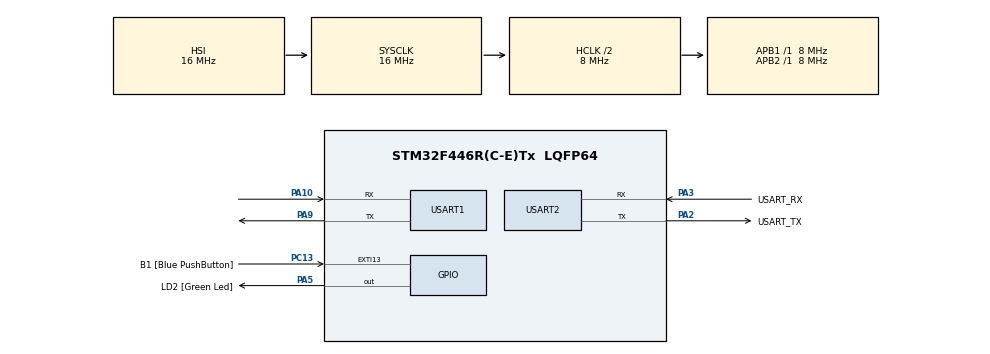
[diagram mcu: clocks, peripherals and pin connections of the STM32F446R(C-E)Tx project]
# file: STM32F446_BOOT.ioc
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Dma.Request0=USART1_RX
Dma.USART1_RX.0.Direction=DMA_PERIPH_TO_MEMORY
Dma.USART1_RX.0.FIFOMode=DMA_FIFOMODE_DISABLE
Dma.USART1_RX.0.Instance=DMA2_Stream2
Dma.USART1_RX.0.MemDataAlignment=DMA_MDATAALIGN_BYTE
Dma.USART1_RX.0.MemInc=DMA_MINC_ENABLE
Dma.USART1_RX.0.Mode=DMA_NORMAL
Dma.USART1_RX.0.PeriphDataAlignment=DMA_PDATAALIGN_BYTE
Dma.USART1_RX.0.PeriphInc=DMA_PINC_DISABLE
Dma.USART1_RX.0.Priority=DMA_PRIORITY_LOW
Mcu.Family=STM32F4
Mcu.Name=STM32F446R(C-E)Tx
Mcu.Package=LQFP64
NVIC.DMA2_Stream2_IRQn=true\:0\:0\:false\:false\:true\:false\:true\:true
NVIC.PriorityGroup=NVIC_PRIORITYGROUP_0
NVIC.USART1_IRQn=true\:0\:0\:false\:false\:true\:true\:true\:true
PA10.Mode=Asynchronous
PA10.Signal=USART1_RX
PA13.GPIO_Label=TMS
PA13.Mode=Serial_Wire
PA13.Signal=SYS_JTMS-SWDIO
PA14.GPIO_Label=TCK
PA14.Mode=Serial_Wire
PA14.Signal=SYS_JTCK-SWCLK
PA2.GPIO_Label=USART_TX
PA2.Mode=Asynchronous
PA2.Signal=USART2_TX
PA3.GPIO_Label=USART_RX
PA3.Mode=Asynchronous
PA3.Signal=USART2_RX
PA5.GPIO_Label=LD2 [Green Led]
PA5.Signal=GPIO_Output
PA9.Mode=Asynchronous
PA9.Signal=USART1_TX
PB3.GPIO_Label=SWO
PB3.Signal=SYS_JTDO-SWO
PC13.GPIO_Label=B1 [Blue PushButton]
PC13.GPIO_ModeDefaultEXTI=GPIO_MODE_IT_FALLING
PC13.Signal=GPXTI13
PC14-OSC32_IN.Mode=LSE-External-Oscillator
PC14-OSC32_IN.Signal=RCC_OSC32_IN
PC15-OSC32_OUT.Mode=LSE-External-Oscillator
PC15-OSC32_OUT.Signal=RCC_OSC32_OUT
PH0-OSC_IN.Mode=HSE-External-Oscillator
PH0-OSC_IN.Signal=RCC_OSC_IN
PH1-OSC_OUT.Mode=HSE-External-Oscillator
PH1-OSC_OUT.Signal=RCC_OSC_OUT
ProjectManager.HeapSize=0x200
ProjectManager.StackSize=0x400
ProjectManager.TargetToolchain=STM32CubeIDE
RCC.48MHZClocksFreq_Value=84000000
RCC.AHBCLKDivider=RCC_SYSCLK_DIV2
RCC.AHBFreq_Value=8000000
RCC.APB1Freq_Value=8000000
RCC.APB1TimFreq_Value=8000000
RCC.APB2Freq_Value=8000000
RCC.APB2TimFreq_Value=8000000
RCC.CortexFreq_Value=8000000
RCC.FLatency-AdvancedSettings=FLASH_LATENCY_0
RCC.HCLKFreq_Value=8000000
RCC.HSE_VALUE=8000000
RCC.HSI_VALUE=16000000
RCC.PLLN=336
RCC.PLLP=RCC_PLLP_DIV4
RCC.SYSCLKFreq_VALUE=16000000
RCC.USBFreq_Value=168000000
RCC.VCOOutputFreq_Value=336000000
USART1.VirtualMode=VM_ASYNC
USART2.VirtualMode=VM_ASYNC
VP_CRC_VS_CRC.Mode=CRC_Activate
board=NUCLEO-F446RE

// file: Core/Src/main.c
/* USER CODE BEGIN Header */
/**
  ******************************************************************************
  * @file           : main.c
  * @brief          : Main program body
  ******************************************************************************
  * @attention
  *
  * Copyright (c) 2025 STMicroelectronics.
  * All rights reserved.
  *
  * This software is licensed under terms that can be found in the LICENSE file
  * in the root directory of this software component.
  * If no LICENSE file comes with this software, it is provided AS-IS.
  *
  ******************************************************************************
  */
/* USER CODE END Header */
#include "main.h"

/* USER CODE BEGIN Includes */
#include <stdio.h>
#include <string.h>
#include "nvslogger.h"
#include "nvscfg_store.h"
#include "nvsesp.h"
#include "esp8266_comm.h"
/* USER CODE END Includes */

/* USER CODE BEGIN PTD */
uint32_t server_version;
uint8_t g_firmwareVersion = 0;
NVS_ESP_AP_MODE apModeGetData;

uint16_t totalBlocks;
static volatile uint32_t resetValue;
/* USER CODE END PTD */

CRC_HandleTypeDef hcrc;

UART_HandleTypeDef huart1;
UART_HandleTypeDef huart2;
DMA_HandleTypeDef hdma_usart1_rx;

void SystemClock_Config(void);
static void MX_GPIO_Init(void);
static void MX_DMA_Init(void);
static void MX_USART2_UART_Init(void);
static void MX_USART1_UART_Init(void);
static void MX_CRC_Init(void);

/* USER CODE BEGIN 0 */
void bootloader_jump_to_user_application(void) {
	void (*bootloader_application_reset_handler)(void);
	logInfo("BL DEBUG MSG:Jumping to user application...\n");
	uint32_t mspValue = *(volatile uint32_t*) APP_START_ADDRESS;
	logInfo("BL DEBUG MSG:MSP Value %#x\n", mspValue);
	__set_MSP(mspValue);

	resetValue = *(volatile uint32_t*) (APP_START_ADDRESS + 4);
	logInfo("BL DEBUG MSG:Reset Value %#x\n", resetValue);

	bootloader_application_reset_handler = (void*) resetValue;

	bootloader_application_reset_handler();

}
void app_test_read_wifi_from_cfg(void)
{
    logInfo("==== APP TEST: READ WIFI CFG START ====\r\n");

    nv_cfg_result_t r = nv_cfg_load_globals();
    logInfo("APP READ: nv_cfg_load_globals returned %d\r\n", r);

    if (r != NV_CFG_OK) {
        logInfo("APP READ ERROR: load_globals FAILED (%d)\r\n", r);
        logInfo("==== APP TEST: READ WIFI CFG END (FAIL) ====\r\n\r\n");
        return;
    }

    logInfo("APP READ: g_nv_cfg.pass_len = %u\r\n", (unsigned)g_nv_cfg.pass_len);
    logInfo("APP READ: g_nv_cfg.ssid     = \"%s\"\r\n", g_nv_cfg.ssid);

    char pass_plain[NV_PASS_MAX_LEN + 1];
    uint16_t pl = g_nv_cfg.pass_len;
    if (pl > NV_PASS_MAX_LEN) pl = NV_PASS_MAX_LEN;
    memcpy(pass_plain, g_nv_cfg.pass, pl);
    pass_plain[pl] = '\0';

    logInfo("APP READ: g_nv_cfg.pass     = \"%s\"\r\n", pass_plain);

    char pass_mask[32];
    if (g_nv_cfg.pass_len == 0) {
        strcpy(pass_mask, "(empty)");
    } else if (g_nv_cfg.pass_len >= 4) {
        pass_mask[0] = g_nv_cfg.pass[0];
        pass_mask[1] = g_nv_cfg.pass[1];
        pass_mask[2] = '*';
        pass_mask[3] = '*';
        pass_mask[4] = '*';
        pass_mask[5] = g_nv_cfg.pass[g_nv_cfg.pass_len - 2];
        pass_mask[6] = g_nv_cfg.pass[g_nv_cfg.pass_len - 1];
        pass_mask[7] = '\0';
    } else {
        uint16_t m = (g_nv_cfg.pass_len < sizeof(pass_mask) - 1)
                     ? g_nv_cfg.pass_len
                     : (sizeof(pass_mask) - 1);
        for (uint16_t i = 0; i < m; i++) pass_mask[i] = '*';
        pass_mask[m] = '\0';
    }

    logInfo("APP READ: g_nv_cfg.pass(mask)= %s\r\n", pass_mask);

    logInfo("==== APP TEST: READ WIFI CFG END (OK) ====\r\n\r\n");
}
/* USER CODE END 0 */

int main(void)
{

  /* MCU Configuration--------------------------------------------------------*/

  /* Reset of all peripherals, Initializes the Flash interface and the Systick. */
  HAL_Init();

  /* Configure the system clock */
  SystemClock_Config();

  /* Initialize all configured peripherals */
  MX_GPIO_Init();
  MX_DMA_Init();
  MX_USART2_UART_Init();
  MX_USART1_UART_Init();
  MX_CRC_Init();
  /* USER CODE BEGIN 2 */
	nvsesp_sendAtCommand("AT+RST", 1000);
	nvsesp_sendAtCommand("ATE0", 1000);
	nvsesp_sendAtCommand("AT+CWMODE=3", 1000);
	nvsesp_sendAtCommand("AT+CWSAP=\"BURAK123\",\"12345678\",5,3", 2000);
	nvsesp_sendAtCommand("AT+CWQAP", 1000);
	char cmd[128];
	logInfo("WiFi join OK (%s)\r\n", g_nv_cfg.ssid);
	snprintf(cmd, sizeof(cmd), "AT+CWJAP=\"%s\",\"%s\"", g_nv_cfg.ssid, g_nv_cfg.pass);

	if (nvsesp_sendAtCommand(cmd,3000) == NS_ESP_STATUS_SUCCESS) {
		logInfo("wifi success\n");
		nvsesp_sendAtCommand("AT+CIPMUX=1", 1000);

		if (nvsesp_sendAtCommand(
				"AT+CIPSTART=0,\"TCP\",\"burakozdemir1.pythonanywhere.com\",80",
				2000) == NS_ESP_STATUS_SUCCESS) {
			char httpRequest[256];
			sprintf(httpRequest, "GET /version HTTP/1.1\r\n"
					"Host: burakozdemir1.pythonanywhere.com\r\n"
					"Connection: close\r\n"
					"\r\n");

			char cipSendCmd[32];
			sprintf(cipSendCmd, "AT+CIPSEND=0,%d", strlen(httpRequest));
			nvsesp_sendAtCommand(cipSendCmd, 2000);

			ESP_Handle_t espWifi;

			uint8_t ATisOK = 0;
			espWifi.timeout = 6000;

			while (!ATisOK) {

				memset(espWifi.rxBuffer, 0, sizeof(espWifi.rxBuffer));

				if (HAL_UART_Transmit(&huart1, (uint8_t*) httpRequest,
						strlen(httpRequest), 2000) != HAL_OK) {
					logInfo(
							"BL ERROR: Failed to transmit AT+CIPCLOSE command!\n");
					break;
				}

				uint32_t start_time = HAL_GetTick();
				while (HAL_UART_Receive(&huart1, (uint8_t*) espWifi.rxBuffer,
						sizeof(espWifi.rxBuffer), espWifi.timeout) != HAL_OK) {
					if (HAL_GetTick() - start_time >= espWifi.timeout)
						break;
				}

				if ((strstr((char*) espWifi.rxBuffer, "CLOSED")
						|| strstr((char*) espWifi.rxBuffer, "OK"))) {
					logInfo("BL DEBUG: AT+CIPCLOSE OK.\n");
					ATisOK = 1;
					break;
				} else {
					logInfo("BL DEBUG: AT+CIPCLOSE empty.\n");
					break;
				}

				HAL_Delay(500);
			}

			ATisOK = 0;

	        if (!g_nv_cfg.first_online_flag) {
	            if (strstr((char*)espWifi.rxBuffer, "HTTP/1.1") ||
	                strstr((char*)espWifi.rxBuffer, "HTTP/1.0")) {
	                if (nv_cfg_set_first_online_flag_and_commit(true) == NV_CFG_OK) {
	                	logInfo("First online flag set to 1\r\n");
	                } else {
	                	logInfo("First online flag commit FAILED\r\n");
	                }
	            } else {
	            	logInfo("First online not confirmed by HTTP.\r\n");
	            }
	        }

			server_version = nvsesp_parseVersionJson((char*)espWifi.rxBuffer);
			//nvsesp_parseVersionJson((char*)espWifi.rxBuffer);
			if (server_version != g_nv_cfg.version) {

				logInfo("Version mismatch! Local=%lu, Server=%lu\r\n",
			                 (unsigned long)g_nv_cfg.version,
			                 (unsigned long)server_version);

				nvsesp_sendAtCommand(
						"AT+CIPSTART=0,\"TCP\",\"burakozdemir1.pythonanywhere.com\",80",
						2000);
				ESP8266_GetFirmwareMetadata(&totalBlocks);
				if (ESP8266_RequestFirmware(&totalBlocks)
						== ESP_STATUS_METADATA_FAIL)
					NVIC_SystemReset();
			}
		}
		else {
			logInfo("BL DEBUG: Server Connection Error.\n");
			while (1);
		}
	    nv_cfg_ctx_t ctx;
	    if (nv_cfg_init(&ctx) == NV_CFG_OK) {
	        if (nv_cfg_set_version(&ctx, server_version) == NV_CFG_OK) {
	            if (nv_cfg_commit(&ctx) == NV_CFG_OK) {
	                nv_cfg_load_globals();
	                logInfo("Version updated in flash: %lu\r\n",
	                             (unsigned long)g_nv_cfg.version);
	            } else {
	            	logInfo("Version commit FAILED!\r\n");
	            }
	        } else {
	        	logInfo("Version set FAILED!\r\n");
	        }
	    } else {
	    	logInfo("nv_cfg_init FAILED!\r\n");
	    }
	    logInfo("BL DEBUG: Jumping App Code.\n");
		bootloader_jump_to_user_application();

	}

	else {
		logInfo("Wifi Fail\n");

	    if (!g_nv_cfg.first_online_flag) {
	        nvsesp_sendAtCommand("AT+CIPMUX=1", 2500);
	        nvsesp_sendAtCommand("AT+CIPDINFO=1", 2000);
	        nvsesp_sendAtCommand("AT+CIPSERVER=1,80", 2000);
	        nvsesp_apModeGetDataInit();

	    } else {
	    	logInfo("Offline mode allowed (first_online_flag=1). Jumping app.\n");
	        bootloader_jump_to_user_application();
	    }
	}

  /* USER CODE END 2 */

  /* Infinite loop */
  while (1)
  {

  }
}

void SystemClock_Config(void)
{
  RCC_OscInitTypeDef RCC_OscInitStruct = {0};
  RCC_ClkInitTypeDef RCC_ClkInitStruct = {0};

  /** Configure the main internal regulator output voltage
  */
  __HAL_RCC_PWR_CLK_ENABLE();
  __HAL_PWR_VOLTAGESCALING_CONFIG(PWR_REGULATOR_VOLTAGE_SCALE3);

  /** Initializes the RCC Oscillators according to the specified parameters
  * in the RCC_OscInitTypeDef structure.
  */
  RCC_OscInitStruct.OscillatorType = RCC_OSCILLATORTYPE_HSI;
  RCC_OscInitStruct.HSIState = RCC_HSI_ON;
  RCC_OscInitStruct.HSICalibrationValue = RCC_HSICALIBRATION_DEFAULT;
  RCC_OscInitStruct.PLL.PLLState = RCC_PLL_NONE;
  if (HAL_RCC_OscConfig(&RCC_OscInitStruct) != HAL_OK)
  {
    Error_Handler();
  }

  /** Initializes the CPU, AHB and APB buses clocks
  */
  RCC_ClkInitStruct.ClockType = RCC_CLOCKTYPE_HCLK|RCC_CLOCKTYPE_SYSCLK
                              |RCC_CLOCKTYPE_PCLK1|RCC_CLOCKTYPE_PCLK2;
  RCC_ClkInitStruct.SYSCLKSource = RCC_SYSCLKSOURCE_HSI;
  RCC_ClkInitStruct.AHBCLKDivider = RCC_SYSCLK_DIV2;
  RCC_ClkInitStruct.APB1CLKDivider = RCC_HCLK_DIV1;
  RCC_ClkInitStruct.APB2CLKDivider = RCC_HCLK_DIV1;

  if (HAL_RCC_ClockConfig(&RCC_ClkInitStruct, FLASH_LATENCY_0) != HAL_OK)
  {
    Error_Handler();
  }
}

static void MX_CRC_Init(void)
{

  hcrc.Instance = CRC;
  if (HAL_CRC_Init(&hcrc) != HAL_OK)
  {
    Error_Handler();
  }

}

static void MX_USART1_UART_Init(void)
{

  huart1.Instance = USART1;
  huart1.Init.BaudRate = 115200;
  huart1.Init.WordLength = UART_WORDLENGTH_8B;
  huart1.Init.StopBits = UART_STOPBITS_1;
  huart1.Init.Parity = UART_PARITY_NONE;
  huart1.Init.Mode = UART_MODE_TX_RX;
  huart1.Init.HwFlowCtl = UART_HWCONTROL_NONE;
  huart1.Init.OverSampling = UART_OVERSAMPLING_16;
  if (HAL_UART_Init(&huart1) != HAL_OK)
  {
    Error_Handler();
  }

}

static void MX_USART2_UART_Init(void)
{

  huart2.Instance = USART2;
  huart2.Init.BaudRate = 115200;
  huart2.Init.WordLength = UART_WORDLENGTH_8B;
  huart2.Init.StopBits = UART_STOPBITS_1;
  huart2.Init.Parity = UART_PARITY_NONE;
  huart2.Init.Mode = UART_MODE_TX_RX;
  huart2.Init.HwFlowCtl = UART_HWCONTROL_NONE;
  huart2.Init.OverSampling = UART_OVERSAMPLING_16;
  if (HAL_UART_Init(&huart2) != HAL_OK)
  {
    Error_Handler();
  }

}

static void MX_DMA_Init(void)
{

  /* DMA controller clock enable */
  __HAL_RCC_DMA2_CLK_ENABLE();

  /* DMA interrupt init */
  /* DMA2_Stream2_IRQn interrupt configuration */
  HAL_NVIC_SetPriority(DMA2_Stream2_IRQn, 0, 0);
  HAL_NVIC_EnableIRQ(DMA2_Stream2_IRQn);

}

static void MX_GPIO_Init(void)
{
  GPIO_InitTypeDef GPIO_InitStruct = {0};

  /* GPIO Ports Clock Enable */
  __HAL_RCC_GPIOC_CLK_ENABLE();
  __HAL_RCC_GPIOH_CLK_ENABLE();
  __HAL_RCC_GPIOA_CLK_ENABLE();
  __HAL_RCC_GPIOB_CLK_ENABLE();

  /*Configure GPIO pin Output Level */
  HAL_GPIO_WritePin(LD2_GPIO_Port, LD2_Pin, GPIO_PIN_RESET);

  /*Configure GPIO pin : B1_Pin */
  GPIO_InitStruct.Pin = B1_Pin;
  GPIO_InitStruct.Mode = GPIO_MODE_IT_FALLING;
  GPIO_InitStruct.Pull = GPIO_NOPULL;
  HAL_GPIO_Init(B1_GPIO_Port, &GPIO_InitStruct);

  /*Configure GPIO pin : LD2_Pin */
  GPIO_InitStruct.Pin = LD2_Pin;
  GPIO_InitStruct.Mode = GPIO_MODE_OUTPUT_PP;
  GPIO_InitStruct.Pull = GPIO_NOPULL;
  GPIO_InitStruct.Speed = GPIO_SPEED_FREQ_LOW;
  HAL_GPIO_Init(LD2_GPIO_Port, &GPIO_InitStruct);

}

void Error_Handler(void)
{
  __disable_irq();
  while (1)
  {
  }
}
